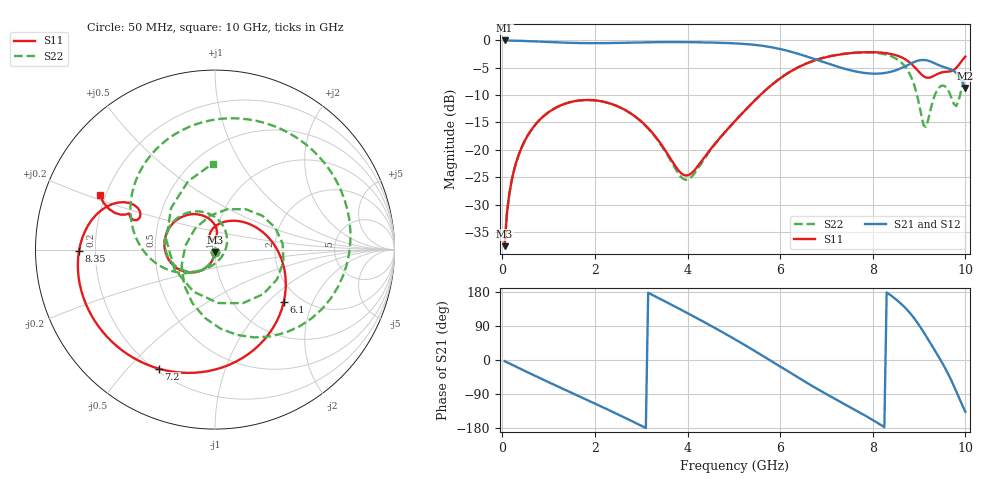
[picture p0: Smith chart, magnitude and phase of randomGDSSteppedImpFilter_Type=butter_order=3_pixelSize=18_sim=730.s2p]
! freq	dB(S11)	phase(S11)	dB(S12)	phase(S12)
!  dB(S21)	phase(S21)	dB(S22)	phase(S22)
!S-par simulation data
#  GHz  S  DB  R 50
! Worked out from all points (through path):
!   200 points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, 50 MHz to 10 GHz, reference 50 ohm
!   highest |S21| = -0.01 dB at 50 MHz (marker M1); lowest = -8.7 dB at 10 GHz (marker M2)
!   lowest |S11| = -37.6 dB at 50 MHz (marker M3), VSWR 1.03, Z = 49.9 - j1.31 ohm
!   |S11| at or under -10 dB: start of sweep to 5.57 GHz
!   |S22| runs from -37.6 to -2.2 dB; largest |S21 - S12| = 0
!   S11 on the Smith chart (normalised r, x): 50 MHz: 1.00, -0.03; 6.1 GHz: 1.65, -1.25; 7.2 GHz: 0.21, -0.61; 8.35 GHz: 0.14, -0.01; 10 GHz: 0.18, +0.22
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0.05  -37.62 -92.8  -0.01 -3.0  -0.01 -3.0  -37.60 -92.7
0.2  -25.73 -101.8  -0.03 -12.0  -0.03 -12.0  -25.73 -102.3
0.5  -18.12 -119.6  -0.11 -29.7  -0.11 -29.7  -18.12 -120.7
1.75  -10.91 170.6  -0.49 -100.9  -0.49 -100.9  -10.92 166.5
2.7  -12.94 118.8  -0.42 -155.4  -0.42 -155.4  -12.96 109.9
3.4  -18.63 86.2  -0.31 161.9  -0.31 161.9  -18.76 58.6
4  -24.67 102.7  -0.31 123.6  -0.31 123.6  -25.45 -36.9
4.55  -19.33 100.9  -0.39 87.3  -0.39 87.3  -19.45 -110.1
5.05  -14.51 58.8  -0.55 52.8  -0.55 52.8  -14.49 -136.8
5.6  -9.76 6.5  -0.96 12.7  -0.96 12.7  -9.74 -164.8
6.1  -6.35 -37.3  -1.77 -25.0  -1.77 -25.0  -6.34 163.6
6.7  -3.79 -82.8  -3.30 -69.1  -3.30 -69.1  -3.77 120.6
7.2  -2.69 -115.2  -4.70 -103.8  -4.70 -103.8  -2.66 83.6
7.9  -2.15 -154.8  -6.02 -151.2  -6.02 -151.2  -2.19 29.6
8.35  -2.41 -179.3  -5.82 174.1  -5.82 174.1  -2.76 -11.7
8.75  -3.73 158.6  -4.53 131.4  -4.53 131.4  -5.41 -65.8
9  -5.79 151.1  -3.66 92.0  -3.66 92.0  -11.62 -130.8
9.15  -6.78 154.9  -3.62 63.4  -3.62 63.4  -15.83 133.1
9.4  -6.13 159.8  -4.42 13.1  -4.42 13.1  -8.95 20.0
9.7  -5.60 157.8  -5.34 -54.7  -5.34 -54.7  -10.51 -86.5
9.85  -4.55 159.9  -6.41 -96.2  -6.41 -96.2  -11.11 168.1
10  -2.96 154.7  -8.70 -136.7  -8.70 -136.7  -6.39 91.6
